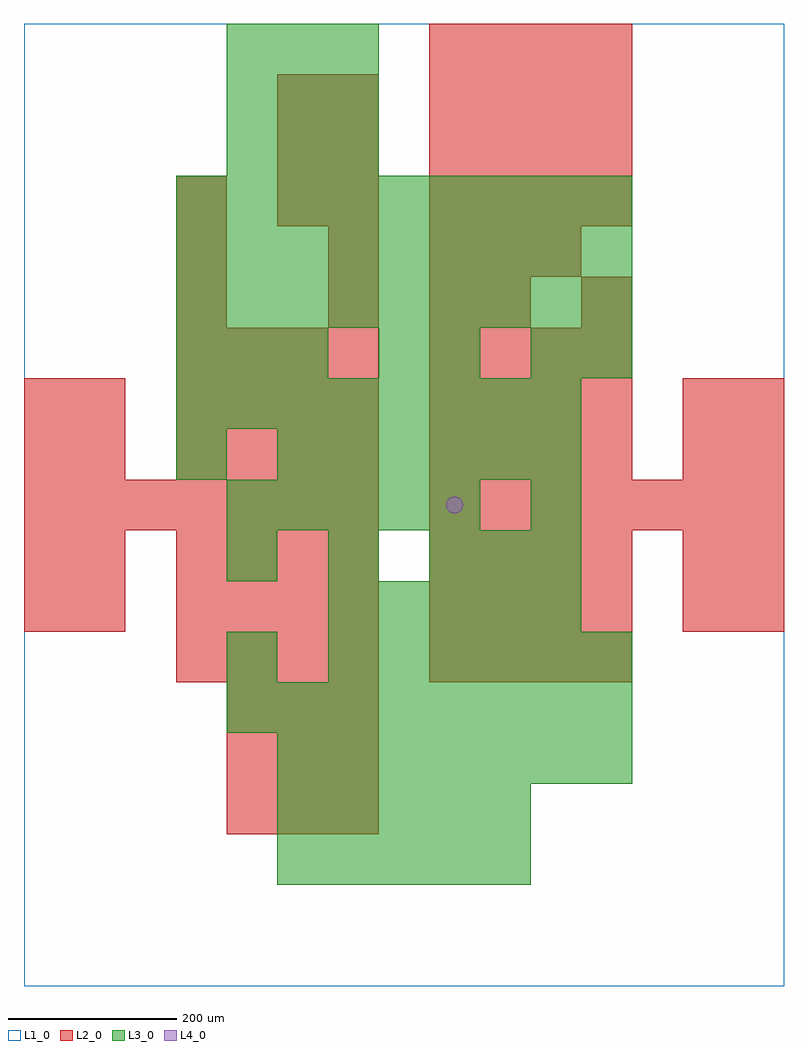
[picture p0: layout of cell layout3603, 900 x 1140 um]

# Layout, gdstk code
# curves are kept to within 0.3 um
import gdstk
lib = gdstk.Library(unit=1e-6, precision=1e-09)
def R(c, l, rs):  # rectangles x0, y0, x1, y1
    for r in rs: c.add(gdstk.rectangle(r[:2], r[2:], *l))
def A(c, l, x, y, w, h, nx, ny, dx, dy):  # array of equal rectangles
    R(c, l, [(x+i*dx, y+j*dy, x+i*dx+w, y+j*dy+h) for i in range(nx) for j in range(ny)])
def P(c, l, *ps):  # polygons
    for p in ps: c.add(gdstk.Polygon(p, *l))
L1_0 = (1, 0)
L2_0 = (2, 0)
L3_0 = (3, 0)
L4_0 = (4, 0)

layout3603 = lib.new_cell('layout3603')
R(layout3603, L1_0, [(0,0,900,1140)])
A(layout3603, L2_0, 240, 180, 60, 60, 3, 3, 60, 60)
A(layout3603, L2_0, 180, 360, 60, 60, 4, 3, 60, 60)
A(layout3603, L2_0, 480, 360, 60, 60, 4, 3, 60, 60)
A(layout3603, L2_0, 0, 540, 60, 60, 7, 1, 60, 0)
A(layout3603, L2_0, 480, 540, 60, 60, 7, 1, 60, 0)
A(layout3603, L2_0, 180, 600, 60, 60, 4, 3, 60, 60)
A(layout3603, L2_0, 480, 600, 60, 60, 4, 3, 60, 60)
A(layout3603, L2_0, 180, 780, 60, 60, 1, 3, 0, 60)
A(layout3603, L2_0, 360, 780, 60, 60, 1, 5, 0, 60)
A(layout3603, L2_0, 480, 840, 60, 60, 3, 1, 60, 0)
A(layout3603, L2_0, 300, 900, 60, 60, 1, 3, 0, 60)
A(layout3603, L2_0, 480, 900, 60, 60, 4, 4, 60, 60)
R(layout3603, L2_0, [(0,420,60,480), (60,420,120,480), (780,420,840,480), (840,420,900,480), (0,480,60,540), (60,480,120,540), (780,480,840,540), (840,480,900,540), (0,600,60,660), (60,600,120,660), (780,600,840,660), (840,600,900,660), (0,660,60,720), (60,660,120,720), (780,660,840,720), (840,660,900,720), (480,780,540,840), (540,780,600,840), (660,780,720,840)])
A(layout3603, L3_0, 300, 120, 60, 60, 5, 2, 60, 60)
A(layout3603, L3_0, 300, 240, 60, 60, 7, 1, 60, 0)
A(layout3603, L3_0, 240, 300, 60, 60, 8, 1, 60, 0)
A(layout3603, L3_0, 360, 360, 60, 60, 6, 1, 60, 0)
A(layout3603, L3_0, 360, 420, 60, 60, 5, 1, 60, 0)
A(layout3603, L3_0, 240, 480, 60, 60, 3, 1, 120, 0)
A(layout3603, L3_0, 240, 540, 60, 60, 5, 1, 60, 0)
A(layout3603, L3_0, 300, 600, 60, 60, 6, 1, 60, 0)
A(layout3603, L3_0, 180, 660, 60, 60, 8, 1, 60, 0)
A(layout3603, L3_0, 180, 720, 60, 60, 3, 1, 60, 0)
A(layout3603, L3_0, 180, 780, 60, 60, 9, 3, 60, 60)
A(layout3603, L3_0, 240, 960, 60, 60, 3, 3, 60, 60)
R(layout3603, L3_0, [(240,360,300,420), (540,480,600,540), (600,480,660,540), (600,540,660,600), (180,600,240,660), (420,720,480,780), (480,720,540,780), (600,720,660,780), (660,720,720,780)])
P(layout3603, L4_0, [(520,570),(519.239,573.827),(517.071,577.071),(513.827,579.239),(510,580),(506.173,579.239),(502.929,577.071),(500.761,573.827),(500,570),(500.761,566.173),(502.929,562.929),(506.173,560.761),(510,560),(513.827,560.761),(517.071,562.929),(519.239,566.173)])

lib.write_gds('layout3603.gds')
